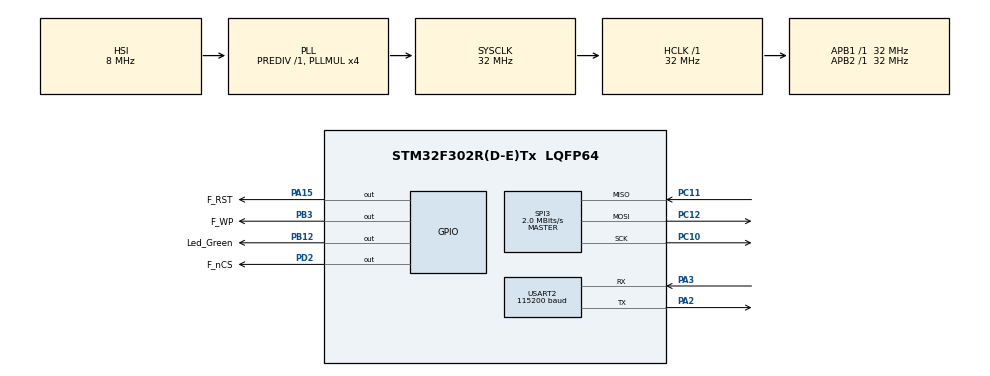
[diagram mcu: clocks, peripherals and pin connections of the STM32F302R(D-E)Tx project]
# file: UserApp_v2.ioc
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Mcu.Family=STM32F3
Mcu.Name=STM32F302R(D-E)Tx
Mcu.Package=LQFP64
NVIC.PriorityGroup=NVIC_PRIORITYGROUP_4
NVIC.USART2_IRQn=true\:0\:0\:false\:false\:true\:true\:true\:true
PA15.GPIO_Label=F_RST
PA15.Signal=GPIO_Output
PA2.Mode=Asynchronous
PA2.Signal=USART2_TX
PA3.Mode=Asynchronous
PA3.Signal=USART2_RX
PB12.GPIO_Label=Led_Green
PB12.Signal=GPIO_Output
PB3.GPIO_Label=F_WP
PB3.Signal=GPIO_Output
PC10.Mode=Full_Duplex_Master
PC10.Signal=SPI3_SCK
PC11.Mode=Full_Duplex_Master
PC11.Signal=SPI3_MISO
PC12.Mode=Full_Duplex_Master
PC12.Signal=SPI3_MOSI
PD2.GPIO_Label=F_nCS
PD2.Signal=GPIO_Output
ProjectManager.HeapSize=0x200
ProjectManager.StackSize=0x400
ProjectManager.TargetToolchain=STM32CubeIDE
RCC.AHBFreq_Value=32000000
RCC.APB1Freq_Value=32000000
RCC.APB1TimFreq_Value=32000000
RCC.APB2Freq_Value=32000000
RCC.APB2TimFreq_Value=32000000
RCC.CortexFreq_Value=32000000
RCC.HCLKFreq_Value=32000000
RCC.HSE_VALUE=8000000
RCC.HSI_VALUE=8000000
RCC.LSE_VALUE=32768
RCC.PLLMUL=RCC_PLL_MUL4
RCC.SYSCLKFreq_VALUE=32000000
RCC.SYSCLKSourceVirtual=RCC_SYSCLKSOURCE_PLLCLK
RCC.USBFreq_Value=32000000
SPI3.BaudRatePrescaler=SPI_BAUDRATEPRESCALER_16
SPI3.CalculateBaudRate=2.0 MBits/s
SPI3.DataSize=SPI_DATASIZE_8BIT
SPI3.Direction=SPI_DIRECTION_2LINES
SPI3.Mode=SPI_MODE_MASTER
SPI3.NSSPMode=SPI_NSS_PULSE_DISABLE
SPI3.VirtualType=VM_MASTER
USART2.BaudRate=115200
USART2.VirtualMode-Asynchronous=VM_ASYNC
board=custom

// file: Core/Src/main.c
/* USER CODE BEGIN Header */
/**
  ******************************************************************************
  * @file           : main.c
  * @brief          : Main program body
  ******************************************************************************
  * @attention
  *
  * Copyright (c) 2024 STMicroelectronics.
  * All rights reserved.
  *
  * This software is licensed under terms that can be found in the LICENSE file
  * in the root directory of this software component.
  * If no LICENSE file comes with this software, it is provided AS-IS.
  *
  ******************************************************************************
  */
/* USER CODE END Header */
#include "main.h"
#include "spi.h"
#include "usart.h"
#include "gpio.h"

/* USER CODE BEGIN Includes */
#include "ext_flash_w25q64.h"
#include "int_flash.h"
/* USER CODE END Includes */

/* USER CODE BEGIN PV */
unsigned char userData[] ={
		 0x48,0x45,0x4C,0xAA,0x5F,0x57,0x4F,0x52,0x4C,0x44,0xFF,0x84,0x0A
		,0x48,0x45,0x4C,0x4C,0x5F,0x57,0x4F,0x52,0x4C,0x44,0x00,0x83,0x0A
		,0x48,0x45,0x4C,0x4C,0x5F,0x57,0x4F,0x52,0x4C,0x44,0x00,0x83,0x0A
		,0x48,0x45,0x4C,0x4C,0x5F,0x57,0x4F,0x52,0x4C,0x44,0x01,0x84,0x0A
		,0x48,0x45,0x4C,0x4C,0x5F,0x57,0x4F,0x52,0x4C,0x44,0x00,0x83,0x0A
		,0x48,0x45,0x4C,0x4C,0x5F,0x57,0x4F,0x52,0x4C,0x44,0x00,0x82,0x0A
		,0x48,0x45,0x4C,0x4C,0x5F,0x57,0x4F,0x52,0x4C,0x44,0x01,0x83,0x0A
		,0x48,0x45,0x4C,0x4C,0x5F,0x57,0x4F,0x52,0x4C,0x44,0xFF,0x82,0x0A
		,0x48,0x45,0x4C,0x4C,0x5F,0x57,0x4F,0x52,0x4C,0x44,0x00,0x83,0x0A
		,0x48,0x45,0x4C,0x4C,0x5F,0x57,0x4F,0x52,0x4C,0x44,0x00,0x82,0x0A
		,0x48,0x45,0x4C,0x4C,0x5F,0x57,0x4F,0x52,0x4C,0x44,0x01,0x81,0x0A
		,0x48,0x45,0x4C,0x4C,0x5F,0x57,0x4F,0x52,0x4C,0x44,0x01,0x82,0x0A
		,0x48,0x45,0x4C,0x4C,0x5F,0x57,0x4F,0x52,0x4C,0x44,0x01,0x83,0x0A
		,0x48,0x45,0x4C,0x4C,0x5F,0x57,0x4F,0x52,0x4C,0x44,0x01,0x82,0x0A
		,0x48,0x45,0x4C,0x4C,0x5F,0x57,0x4F,0x52,0x4C,0x44,0x00,0x83,0x0A
		,0x48,0x45,0x4C,0x4C,0x5F,0x57,0x4F,0x52,0x4C,0x44,0x01,0x83,0x0A
		,0x48,0x45,0x4C,0x4C,0x5F,0x57,0x4F,0x52,0x4C,0x44,0xFF,0x84,0x0A
		,0x48,0x45,0x4C,0x4C,0x5F,0x57,0x4F,0x52,0x4C,0x44,0x00,0x83,0x0A
		,0x48,0x45,0x4C,0x4C,0x5F,0x57,0x4F,0x52,0x4C,0x44,0x00,0x83,0x0A
		,0x48,0x45,0x4C,0x4C,0x5F,0x57,0x4F,0x52,0x4C,
};
uint32_t 	flashWriteAddress	= 0;
uint32_t 	extFlashReadAddress	= 0;
uint32_t 	flashReadData[512]	= {0};
uint32_t	errorCode			= 0;
uint16_t 	receivedPacketSize 	= 0;
uint8_t  	DataFlagReadBack 	= 0;
uint8_t 	dummyFlagData 		= 0;
uint8_t 	uartRxData[270]		= {0};
uint8_t 	packetReceived 		= 0;
uint8_t		device_Id[2]		= {0};
/* USER CODE END PV */

void SystemClock_Config(void);

int main(void)
{

  /* MCU Configuration--------------------------------------------------------*/

  /* Reset of all peripherals, Initializes the Flash interface and the Systick. */
  HAL_Init();

  /* Configure the system clock */
  SystemClock_Config();

  /* Initialize all configured peripherals */
  MX_GPIO_Init();
  MX_SPI3_Init();
  MX_USART2_UART_Init();
  /* USER CODE BEGIN 2 */
  HAL_UARTEx_ReceiveToIdle_IT(&huart2, uartRxData, 512);
  extFlashHardReset();
  HAL_Delay(1);
  extFlashSendCommand(ENABLE_RESET);
  extFlashSendCommand(RESET_DEVICE);
  extFlashSendCommand(GLOBAL_UNLOCK);
  extFlashGetDeviceId(device_Id);
//  extFlashErase(BLOCK_ERASE_64KB, FLASH_PAGE0_BASE_ADDRESS);
//  extFlashErase(BLOCK_ERASE_64KB, FLASH_PAGE1_BASE_ADDRESS);
//  extFlashErase(SECTOR_ERASE_4KB, FLASH_FLAG_SAVE_ADDRESS);
//  dummyFlagData = 0xAA;
//  extFlashPageWrite(FLASH_FLAG_SAVE_ADDRESS, &dummyFlagData, 1);
  dummyFlagData = 0;
  extFlashPageRead(FLASH_FLAG_SAVE_ADDRESS,&dummyFlagData, 1);
  if(dummyFlagData == 0xAA){
	  extFlashErase(BLOCK_ERASE_64KB, FLASH_PAGE0_BASE_ADDRESS);
	  extFlashErase(BLOCK_ERASE_64KB, FLASH_PAGE1_BASE_ADDRESS);
	  flashWriteAddress = FLASH_PAGE0_BASE_ADDRESS;
	  for(uint8_t i = 0; i < 32; i++){
		  /* write the same data 32 time
		   * 32*256=8K in the external flash
		   */
		  extFlashPageWrite(flashWriteAddress, userData, sizeof(userData));
		  flashWriteAddress += sizeof(userData);
	  }
  	  extFlashErase(SECTOR_ERASE_4KB, FLASH_FLAG_SAVE_ADDRESS);
  	  dummyFlagData = 0xBB;
  	  extFlashPageWrite(FLASH_FLAG_SAVE_ADDRESS, &dummyFlagData, 1);
  }
  else if(dummyFlagData == 0xBB){
	  for(uint8_t pageCount =0; pageCount < 4; pageCount++){
		  for(uint16_t i=0; i < 512; i++){
			  extFlashPageRead(extFlashReadAddress,(uint8_t*)&flashReadData[i], 4);
			  extFlashReadAddress += 4;
		  }
		  errorCode = intFlashWrite1(flashReadData, (sizeof(flashReadData)/4));
	  }
  	  extFlashErase(SECTOR_ERASE_4KB, FLASH_FLAG_SAVE_ADDRESS);
  	  dummyFlagData = 0xAA;
  	  extFlashPageWrite(FLASH_FLAG_SAVE_ADDRESS, &dummyFlagData, 1);
  }
  /* USER CODE END 2 */

  /* Infinite loop */
  /* USER CODE BEGIN WHILE */
  while (1)
  {
	  if(packetReceived){
		  packetReceived = 0;
		  processPacket(uartRxData, receivedPacketSize);
	  }
	  HAL_GPIO_WritePin(Led_Green_GPIO_Port, Led_Green_Pin, GPIO_PIN_SET);
	  HAL_Delay(100);
	  HAL_GPIO_WritePin(Led_Green_GPIO_Port, Led_Green_Pin, GPIO_PIN_RESET);
	  HAL_Delay(1000);
    /* USER CODE END WHILE */
  }
}

void SystemClock_Config(void)
{
  RCC_OscInitTypeDef RCC_OscInitStruct = {0};
  RCC_ClkInitTypeDef RCC_ClkInitStruct = {0};
  RCC_PeriphCLKInitTypeDef PeriphClkInit = {0};

  /** Initializes the RCC Oscillators according to the specified parameters
  * in the RCC_OscInitTypeDef structure.
  */
  RCC_OscInitStruct.OscillatorType = RCC_OSCILLATORTYPE_HSI;
  RCC_OscInitStruct.HSIState = RCC_HSI_ON;
  RCC_OscInitStruct.HSICalibrationValue = RCC_HSICALIBRATION_DEFAULT;
  RCC_OscInitStruct.PLL.PLLState = RCC_PLL_ON;
  RCC_OscInitStruct.PLL.PLLSource = RCC_PLLSOURCE_HSI;
  RCC_OscInitStruct.PLL.PLLMUL = RCC_PLL_MUL4;
  RCC_OscInitStruct.PLL.PREDIV = RCC_PREDIV_DIV1;
  if (HAL_RCC_OscConfig(&RCC_OscInitStruct) != HAL_OK)
  {
    Error_Handler();
  }

  /** Initializes the CPU, AHB and APB buses clocks
  */
  RCC_ClkInitStruct.ClockType = RCC_CLOCKTYPE_HCLK|RCC_CLOCKTYPE_SYSCLK
                              |RCC_CLOCKTYPE_PCLK1|RCC_CLOCKTYPE_PCLK2;
  RCC_ClkInitStruct.SYSCLKSource = RCC_SYSCLKSOURCE_PLLCLK;
  RCC_ClkInitStruct.AHBCLKDivider = RCC_SYSCLK_DIV1;
  RCC_ClkInitStruct.APB1CLKDivider = RCC_HCLK_DIV1;
  RCC_ClkInitStruct.APB2CLKDivider = RCC_HCLK_DIV1;

  if (HAL_RCC_ClockConfig(&RCC_ClkInitStruct, FLASH_LATENCY_1) != HAL_OK)
  {
    Error_Handler();
  }
  PeriphClkInit.PeriphClockSelection = RCC_PERIPHCLK_USART2;
  PeriphClkInit.Usart2ClockSelection = RCC_USART2CLKSOURCE_PCLK1;
  if (HAL_RCCEx_PeriphCLKConfig(&PeriphClkInit) != HAL_OK)
  {
    Error_Handler();
  }
}

/* USER CODE BEGIN 4 */
void HAL_UARTEx_RxEventCallback(UART_HandleTypeDef *huart, uint16_t Size){
	packetReceived = 1;
	receivedPacketSize = Size;
	HAL_UARTEx_ReceiveToIdle_IT(&huart2, uartRxData, 512);
}
/* USER CODE END 4 */

void Error_Handler(void)
{
  __disable_irq();
  while (1)
  {
  }
}
